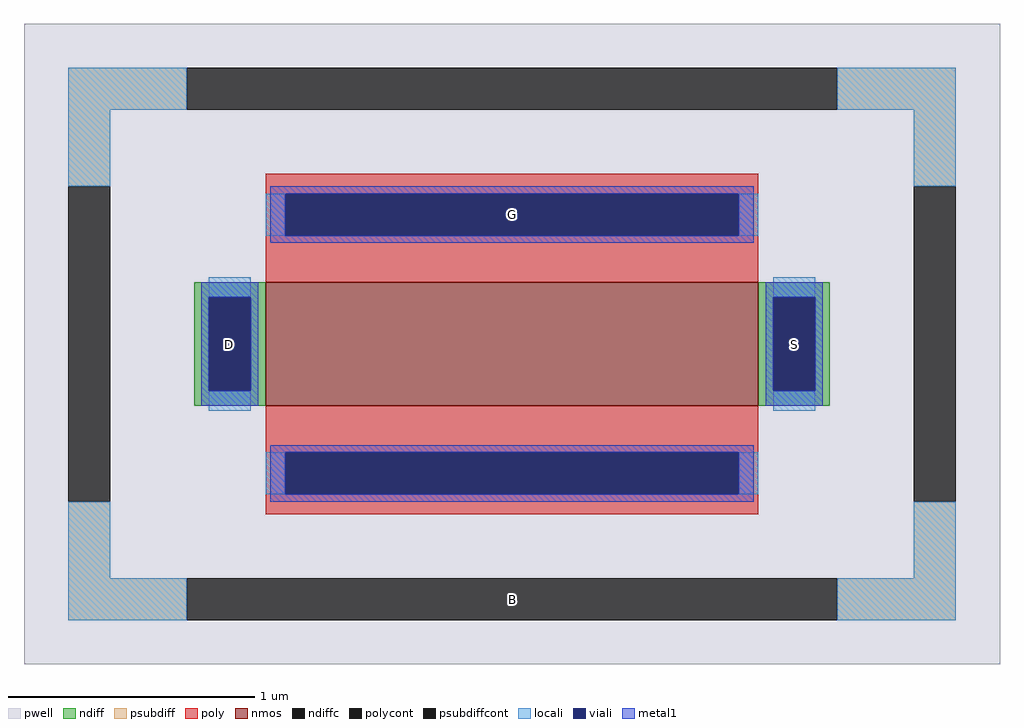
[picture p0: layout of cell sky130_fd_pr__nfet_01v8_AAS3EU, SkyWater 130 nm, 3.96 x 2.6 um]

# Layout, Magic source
magic
tech sky130A
magscale 1 2
<< pwell >>
rect -396 -260 396 260
<< nmos >>
rect -200 -50 200 50
<< ndiff >>
rect -258 38 -200 50
rect -258 -38 -246 38
rect -212 -38 -200 38
rect -258 -50 -200 -38
rect 200 38 258 50
rect 200 -38 212 38
rect 246 -38 258 38
rect 200 -50 258 -38
<< ndiffc >>
rect -246 -38 -212 38
rect 212 -38 246 38
<< psubdiff >>
rect -360 190 -264 224
rect 264 190 360 224
rect -360 128 -326 190
rect 326 128 360 190
rect -360 -190 -326 -128
rect 326 -190 360 -128
rect -360 -224 -264 -190
rect 264 -224 360 -190
<< psubdiffcont >>
rect -264 190 264 224
rect -360 -128 -326 128
rect 326 -128 360 128
rect -264 -224 264 -190
<< poly >>
rect -200 122 200 138
rect -200 88 -184 122
rect 184 88 200 122
rect -200 50 200 88
rect -200 -88 200 -50
rect -200 -122 -184 -88
rect 184 -122 200 -88
rect -200 -138 200 -122
<< polycont >>
rect -184 88 184 122
rect -184 -122 184 -88
<< locali >>
rect -360 190 -264 224
rect 264 190 360 224
rect -360 128 -326 190
rect 326 128 360 190
rect -200 88 -184 122
rect 184 88 200 122
rect -246 38 -212 54
rect -246 -54 -212 -38
rect 212 38 246 54
rect 212 -54 246 -38
rect -200 -122 -184 -88
rect 184 -122 200 -88
rect -360 -190 -326 -128
rect 326 -190 360 -128
rect -360 -224 -264 -190
rect 264 -224 360 -190
<< viali >>
rect -184 88 184 122
rect -246 -38 -212 38
rect 212 -38 246 38
rect -184 -122 184 -88
<< metal1 >>
rect -196 122 196 128
rect -196 88 -184 122
rect 184 88 196 122
rect -196 82 196 88
rect -252 38 -206 50
rect -252 -38 -246 38
rect -212 -38 -206 38
rect -252 -50 -206 -38
rect 206 38 252 50
rect 206 -38 212 38
rect 246 -38 252 38
rect 206 -50 252 -38
rect -196 -88 196 -82
rect -196 -122 -184 -88
rect 184 -122 196 -88
rect -196 -128 196 -122
<< labels >>
rlabel psubdiffcont 0 -207 0 -207 0 B
port 1 nsew
rlabel ndiffc -229 0 -229 0 0 D
port 2 nsew
rlabel ndiffc 229 0 229 0 0 S
port 3 nsew
rlabel polycont 0 105 0 105 0 G
port 4 nsew
<< properties >>
string FIXED_BBOX -343 -207 343 207
string gencell sky130_fd_pr__nfet_01v8
string library sky130
string parameters w 0.5 l 2.0 m 1 nf 1 diffcov 100 polycov 100 guard 1 glc 1 grc 1 gtc 1 gbc 1 tbcov 100 rlcov 100 topc 1 botc 1 poverlap 0 doverlap 1 lmin 0.15 wmin 0.42 class mosfet compatible {sky130_fd_pr__nfet_01v8 sky130_fd_pr__nfet_01v8_lvt  sky130_fd_bs_flash__special_sonosfet_star  sky130_fd_pr__nfet_g5v0d10v5 sky130_fd_pr__nfet_05v0_nvt  sky130_fd_pr__nfet_03v3_nvt} full_metal 1 conn_gates 0 viasrc 100 viadrn 100 viagate 100 viagb 0 viagr 0 viagl 0 viagt 0 doports 1 ad 0.145 as 0.145 pd 1.58 ps 1.58 nrd 0.58 nrs 0.58 sa 0 sb 0 sd 0 mult 1
<< end >>
